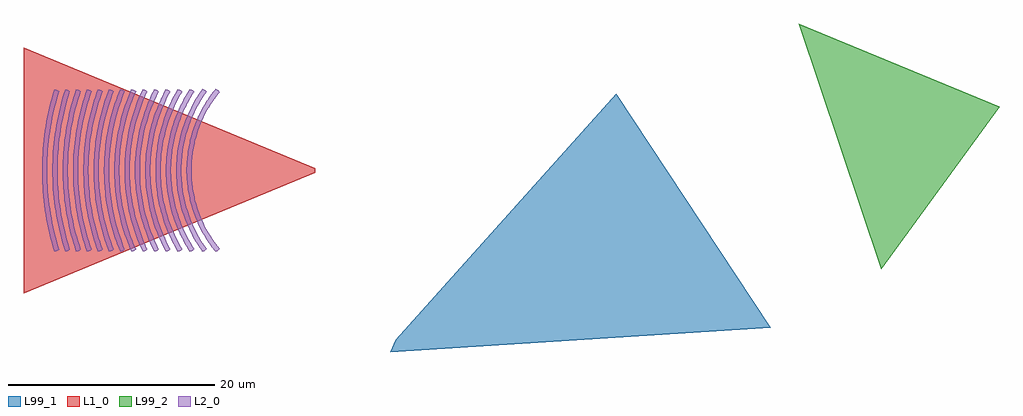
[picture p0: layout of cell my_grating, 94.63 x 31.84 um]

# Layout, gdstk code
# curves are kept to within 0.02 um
import gdstk
lib = gdstk.Library(unit=1e-6, precision=1e-09)
def P(c, l, *ps):  # polygons
    for p in ps: c.add(gdstk.Polygon(p, *l))
L1_0 = (1, 0)
L2_0 = (2, 0)
L99_1 = (99, 1)
L99_2 = (99, 2)

unique_grating_name_used = lib.new_cell('unique_grating_name_used_in_GDSII_unique_grating_name_used_in_GDSII_socket')
P(unique_grating_name_used, L1_0, [(-8.3,-11.895),(-8.3,11.895),(-8.25,11.895),(20,0.225),(20,-0.225),(-8.25,-11.895)])

c_unique_grating_name_used = lib.new_cell('unique_grating_name_used_in_GDSII_unique_grating_name_used_in_GDSII_grating')
P(c_unique_grating_name_used, L2_0, [(10.32,-7.905),(9.67,-7.04),(9.1,-6.12),(8.7,-5.35),(8.28,-4.35),(7.95,-3.32),(7.705,-2.265),(7.555,-1.19),(7.5,-0.11),(7.555,1.19),(7.705,2.265),(7.95,3.32),(8.28,4.35),(8.7,5.35),(9.1,6.12),(9.67,7.04),(10.32,7.905),(10.505,7.835),(10.6,7.76),(10.71,7.595),(10.325,7.1),(9.855,6.41),(9.34,5.51),(8.9,4.565),(8.61,3.785),(8.43,3.185),(8.28,2.58),(8.1,1.555),(8.02,0.73),(8,0.105),(8.02,-0.73),(8.1,-1.555),(8.28,-2.58),(8.43,-3.185),(8.61,-3.785),(8.9,-4.565),(9.34,-5.51),(9.855,-6.41),(10.325,-7.1),(10.71,-7.595),(10.6,-7.76),(10.505,-7.835)],
  [(9.05,-7.895),(8.405,-6.92),(7.955,-6.095),(7.56,-5.245),(7.225,-4.37),(6.895,-3.25),(6.745,-2.56),(6.55,-1.17),(6.5,-0.235),(6.52,0.705),(6.63,1.87),(6.84,3.02),(7.155,4.15),(7.47,5.03),(7.955,6.095),(8.405,6.92),(9.05,7.895),(9.24,7.835),(9.335,7.765),(9.455,7.605),(8.835,6.66),(8.4,5.87),(8.02,5.05),(7.7,4.21),(7.38,3.13),(7.195,2.245),(7.07,1.35),(7,0.225),(7.03,-0.9),(7.125,-1.8),(7.28,-2.69),(7.56,-3.78),(7.935,-4.845),(8.3,-5.67),(8.835,-6.66),(9.455,-7.605),(9.335,-7.765),(9.24,-7.835)],
  [(7.83,-7.885),(7.31,-7.02),(6.855,-6.12),(6.55,-5.425),(6.13,-4.235),(5.815,-3.01),(5.64,-2.015),(5.535,-1.01),(5.5,-0.255),(5.535,1.01),(5.64,2.015),(5.815,3.01),(6.13,4.235),(6.55,5.425),(6.855,6.12),(7.31,7.02),(7.83,7.885),(8.025,7.835),(8.125,7.77),(8.255,7.615),(7.87,6.99),(7.41,6.13),(6.925,5.01),(6.61,4.085),(6.36,3.145),(6.17,2.185),(6.075,1.46),(6,0.245),(6.035,-0.975),(6.135,-1.945),(6.305,-2.905),(6.54,-3.855),(6.84,-4.78),(7.205,-5.685),(7.635,-6.565),(8.255,-7.615),(8.125,-7.77),(8.025,-7.835)],
  [(6.65,-7.875),(6.26,-7.18),(5.695,-5.97),(5.32,-4.975),(5.085,-4.21),(4.775,-2.915),(4.645,-2.125),(4.555,-1.33),(4.5,-0.265),(4.52,0.8),(4.58,1.595),(4.775,2.915),(4.945,3.695),(5.235,4.72),(5.595,5.725),(6.14,6.94),(6.65,7.875),(6.845,7.83),(6.95,7.77),(7.08,7.625),(6.705,6.945),(6.26,6.015),(5.88,5.06),(5.635,4.325),(5.32,3.075),(5.14,2.055),(5.055,1.29),(5,0.26),(5.035,-1.03),(5.14,-2.055),(5.32,-3.075),(5.495,-3.825),(5.795,-4.815),(6.16,-5.78),(6.475,-6.485),(7.08,-7.625),(6.95,-7.77),(6.845,-7.83)],
  [(5.495,-7.865),(5.105,-7.1),(4.645,-6.045),(4.35,-5.235),(4.025,-4.13),(3.83,-3.29),(3.64,-2.155),(3.55,-1.295),(3.5,-0.145),(3.515,0.72),(3.605,1.865),(3.775,3.005),(3.955,3.85),(4.35,5.235),(4.645,6.045),(5.105,7.1),(5.495,7.865),(5.69,7.83),(5.8,7.775),(5.94,7.635),(5.555,6.885),(5.11,5.86),(4.74,4.81),(4.44,3.735),(4.135,2.085),(4.03,0.975),(4,0.14),(4.03,-0.975),(4.135,-2.085),(4.44,-3.735),(4.74,-4.81),(5.01,-5.6),(5.555,-6.885),(5.94,-7.635),(5.8,-7.775),(5.69,-7.83)],
  [(4.365,-7.86),(3.98,-7.045),(3.53,-5.92),(3.165,-4.77),(2.94,-3.895),(2.71,-2.705),(2.595,-1.81),(2.54,-1.205),(2.5,0),(2.54,1.205),(2.595,1.81),(2.71,2.705),(2.94,3.895),(3.165,4.77),(3.53,5.92),(3.98,7.045),(4.365,7.86),(4.56,7.83),(4.67,7.775),(4.815,7.64),(4.32,6.57),(3.905,5.475),(3.645,4.635),(3.425,3.78),(3.205,2.63),(3.09,1.755),(3.04,1.175),(3,0),(3.04,-1.175),(3.09,-1.755),(3.205,-2.63),(3.425,-3.78),(3.645,-4.635),(3.905,-5.475),(4.32,-6.57),(4.815,-7.64),(4.67,-7.775),(4.56,-7.83)],
  [(3.25,-7.855),(2.99,-7.275),(2.53,-6.09),(2.24,-5.18),(1.995,-4.255),(1.745,-3.01),(1.615,-2.065),(1.515,-0.795),(1.5,-0.16),(1.515,0.795),(1.615,2.065),(1.745,3.01),(1.925,3.945),(2.24,5.18),(2.53,6.09),(2.99,7.275),(3.25,7.855),(3.45,7.83),(3.555,7.78),(3.705,7.645),(3.33,6.795),(3.005,5.925),(2.635,4.74),(2.415,3.84),(2.24,2.93),(2.11,2.01),(2.015,0.775),(2,0.155),(2.015,-0.775),(2.11,-2.01),(2.24,-2.93),(2.415,-3.84),(2.635,-4.74),(3.005,-5.925),(3.33,-6.795),(3.705,-7.645),(3.555,-7.78),(3.45,-7.83)],
  [(2.15,-7.85),(1.65,-6.6),(1.435,-5.965),(1.15,-4.995),(0.915,-4.01),(0.735,-3.02),(0.605,-2.015),(0.525,-1.01),(0.5,0),(0.525,1.01),(0.605,2.015),(0.735,3.02),(0.915,4.01),(1.15,4.995),(1.435,5.965),(1.65,6.6),(2.15,7.85),(2.35,7.83),(2.46,7.78),(2.61,7.65),(2.235,6.74),(1.91,5.81),(1.55,4.55),(1.405,3.91),(1.28,3.265),(1.1,1.965),(1.025,0.985),(1,0),(1.025,-0.985),(1.1,-1.965),(1.28,-3.265),(1.405,-3.91),(1.55,-4.55),(1.91,-5.81),(2.235,-6.74),(2.61,-7.65),(2.46,-7.78),(2.35,-7.83)],
  [(1.06,-7.845),(0.685,-6.865),(0.36,-5.87),(0.085,-4.855),(-0.14,-3.83),(-0.395,-2.095),(-0.475,-1.05),(-0.5,0),(-0.475,1.05),(-0.395,2.095),(-0.14,3.83),(0.085,4.855),(0.36,5.87),(0.685,6.865),(1.06,7.845),(1.26,7.83),(1.37,7.785),(1.525,7.655),(1.155,6.7),(0.835,5.725),(0.65,5.065),(0.35,3.735),(0.105,2.045),(0.025,1.025),(0,0),(0.025,-1.025),(0.105,-2.045),(0.35,-3.735),(0.65,-5.065),(0.835,-5.725),(1.155,-6.7),(1.525,-7.655),(1.37,-7.785),(1.26,-7.83)],
  [(-0.02,-7.84),(-0.625,-6.075),(-1.075,-4.265),(-1.365,-2.42),(-1.46,-1.305),(-1.5,-0.185),(-1.495,0.56),(-1.435,1.68),(-1.32,2.79),(-1.145,3.9),(-0.91,4.995),(-0.625,6.075),(-0.02,7.84),(0.18,7.825),(0.29,7.785),(0.445,7.66),(-0.145,5.935),(-0.585,4.165),(-0.77,3.09),(-0.905,2),(-1,0.18),(-0.98,-0.91),(-0.905,-2),(-0.77,-3.09),(-0.585,-4.165),(-0.145,-5.935),(0.445,-7.66),(0.29,-7.785),(0.18,-7.825)],
  [(-1.09,-7.835),(-1.585,-6.355),(-2.055,-4.46),(-2.255,-3.305),(-2.4,-2.145),(-2.5,-0.195),(-2.48,0.975),(-2.4,2.145),(-2.195,3.695),(-1.975,4.845),(-1.69,5.98),(-1.47,6.73),(-1.09,7.835),(-0.895,7.825),(-0.78,7.785),(-0.62,7.665),(-0.995,6.58),(-1.21,5.845),(-1.485,4.735),(-1.635,3.985),(-1.815,2.855),(-1.9,2.095),(-1.98,0.955),(-2,0.19),(-1.995,-0.575),(-1.935,-1.715),(-1.815,-2.855),(-1.635,-3.985),(-1.485,-4.735),(-1.21,-5.845),(-0.995,-6.58),(-0.62,-7.665),(-0.78,-7.785),(-0.895,-7.825)],
  [(-2.155,-7.83),(-2.65,-6.27),(-2.855,-5.48),(-3.11,-4.275),(-3.3,-3.065),(-3.43,-1.84),(-3.5,-0.205),(-3.48,1.025),(-3.43,1.84),(-3.3,3.065),(-3.18,3.875),(-3.03,4.68),(-2.755,5.875),(-2.535,6.665),(-2.155,7.83),(-1.96,7.825),(-1.845,7.785),(-1.685,7.67),(-1.94,6.905),(-2.27,5.75),(-2.54,4.58),(-2.685,3.79),(-2.895,2.2),(-2.98,1),(-3,0.2),(-2.98,-1),(-2.93,-1.8),(-2.855,-2.6),(-2.685,-3.79),(-2.54,-4.58),(-2.27,-5.75),(-1.94,-6.905),(-1.685,-7.67),(-1.845,-7.785),(-1.96,-7.825)],
  [(-3.215,-7.83),(-3.47,-7.03),(-3.8,-5.815),(-3.985,-5),(-4.21,-3.76),(-4.325,-2.93),(-4.445,-1.675),(-4.5,0),(-4.445,1.675),(-4.325,2.93),(-4.21,3.76),(-3.985,5),(-3.8,5.815),(-3.47,7.03),(-3.215,7.83),(-3.015,7.825),(-2.905,7.79),(-2.74,7.67),(-3.215,6.095),(-3.41,5.3),(-3.65,4.09),(-3.875,2.46),(-3.97,1.23),(-4,0),(-3.97,-1.23),(-3.875,-2.46),(-3.65,-4.09),(-3.41,-5.3),(-3.215,-6.095),(-2.74,-7.67),(-2.905,-7.79),(-3.015,-7.825)],
  [(-4.27,-7.825),(-4.645,-6.555),(-4.855,-5.695),(-5.04,-4.83),(-5.255,-3.525),(-5.44,-1.765),(-5.485,-0.885),(-5.495,0.44),(-5.44,1.765),(-5.315,3.085),(-5.04,4.83),(-4.645,6.555),(-4.27,7.825),(-4.07,7.825),(-3.955,7.79),(-3.795,7.675),(-4.27,6.005),(-4.625,4.31),(-4.865,2.595),(-4.94,1.73),(-4.995,0.435),(-4.985,-0.865),(-4.94,-1.73),(-4.76,-3.455),(-4.625,-4.31),(-4.37,-5.585),(-4.045,-6.845),(-3.795,-7.675),(-3.955,-7.79),(-4.07,-7.825)],
  [(-5.12,-7.825),(-5.32,-7.82),(-5.795,-6.07),(-6.075,-4.74),(-6.22,-3.845),(-6.385,-2.49),(-6.475,-1.135),(-6.5,-0.225),(-6.475,1.135),(-6.385,2.49),(-6.22,3.845),(-6.075,4.74),(-5.795,6.07),(-5.32,7.82),(-5.12,7.825),(-5.005,7.79),(-4.84,7.68),(-5.31,5.96),(-5.58,4.65),(-5.725,3.77),(-5.925,2),(-6,0.225),(-5.99,-0.67),(-5.925,-2),(-5.725,-3.77),(-5.58,-4.65),(-5.31,-5.96),(-4.84,-7.68),(-5.005,-7.79)])

my_grating = lib.new_cell('my_grating')
P(my_grating, L99_1, [(27.28,-17.63),(27.815,-16.42),(49.195,7.44),(64.145,-15.28)])
P(my_grating, L99_2, [(74.87,-9.585),(66.89,14.21),(86.33,6.165)])
my_grating.add(gdstk.Reference(unique_grating_name_used, (0,0)))
my_grating.add(gdstk.Reference(c_unique_grating_name_used, (0,0)))

lib.write_gds('my_grating.gds')
